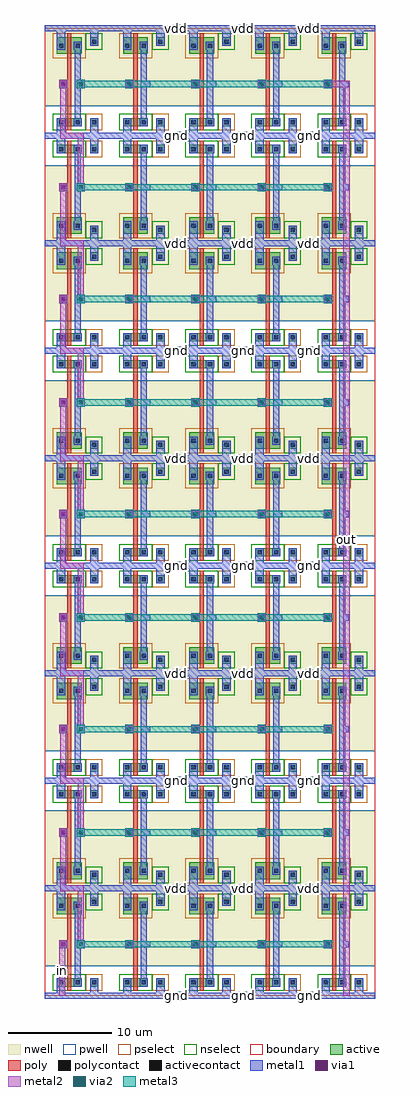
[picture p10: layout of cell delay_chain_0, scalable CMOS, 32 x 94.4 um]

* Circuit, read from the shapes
.subckt delay_chain_0 gnd in out vdd
M1 pinv_2_1/A in gnd gnd nfet w=0.8u l=0.4u
M2 pinv_2_10/A pinv_2_1/A gnd gnd nfet w=0.8u l=0.4u
M3 pinv_2_11/A pinv_2_10/A gnd gnd nfet w=0.8u l=0.4u
M4 pinv_2_16/A pinv_2_11/A gnd gnd nfet w=0.8u l=0.4u
M5 pinv_2_21/A pinv_2_16/A gnd gnd nfet w=0.8u l=0.4u
M6 pinv_2_26/A pinv_2_21/A gnd gnd nfet w=0.8u l=0.4u
M7 pinv_2_31/A pinv_2_26/A gnd gnd nfet w=0.8u l=0.4u
M8 pinv_2_36/A pinv_2_31/A gnd gnd nfet w=0.8u l=0.4u
M9 out pinv_2_36/A gnd gnd nfet w=0.8u l=0.4u
M10 pinv_2_1/Z pinv_2_1/A gnd gnd nfet w=0.8u l=0.4u
M11 pinv_2_6/Z pinv_2_10/A gnd gnd nfet w=0.8u l=0.4u
M12 pinv_2_11/Z pinv_2_11/A gnd gnd nfet w=0.8u l=0.4u
M13 pinv_2_16/Z pinv_2_16/A gnd gnd nfet w=0.8u l=0.4u
M14 pinv_2_21/Z pinv_2_21/A gnd gnd nfet w=0.8u l=0.4u
M15 pinv_2_26/Z pinv_2_26/A gnd gnd nfet w=0.8u l=0.4u
M16 pinv_2_31/Z pinv_2_31/A gnd gnd nfet w=0.8u l=0.4u
M17 pinv_2_36/Z pinv_2_36/A gnd gnd nfet w=0.8u l=0.4u
M18 pinv_2_41/Z out gnd gnd nfet w=0.8u l=0.4u
M19 pinv_2_2/Z pinv_2_1/A gnd gnd nfet w=0.8u l=0.4u
M20 pinv_2_7/Z pinv_2_10/A gnd gnd nfet w=0.8u l=0.4u
M21 pinv_2_12/Z pinv_2_11/A gnd gnd nfet w=0.8u l=0.4u
M22 pinv_2_17/Z pinv_2_16/A gnd gnd nfet w=0.8u l=0.4u
M23 pinv_2_22/Z pinv_2_21/A gnd gnd nfet w=0.8u l=0.4u
M24 pinv_2_27/Z pinv_2_26/A gnd gnd nfet w=0.8u l=0.4u
M25 pinv_2_32/Z pinv_2_31/A gnd gnd nfet w=0.8u l=0.4u
M26 pinv_2_37/Z pinv_2_36/A gnd gnd nfet w=0.8u l=0.4u
M27 pinv_2_42/Z out gnd gnd nfet w=0.8u l=0.4u
M28 pinv_2_3/Z pinv_2_1/A gnd gnd nfet w=0.8u l=0.4u
M29 pinv_2_8/Z pinv_2_10/A gnd gnd nfet w=0.8u l=0.4u
M30 pinv_2_13/Z pinv_2_11/A gnd gnd nfet w=0.8u l=0.4u
M31 pinv_2_18/Z pinv_2_16/A gnd gnd nfet w=0.8u l=0.4u
M32 pinv_2_23/Z pinv_2_21/A gnd gnd nfet w=0.8u l=0.4u
M33 pinv_2_28/Z pinv_2_26/A gnd gnd nfet w=0.8u l=0.4u
M34 pinv_2_33/Z pinv_2_31/A gnd gnd nfet w=0.8u l=0.4u
M35 pinv_2_38/Z pinv_2_36/A gnd gnd nfet w=0.8u l=0.4u
M36 pinv_2_43/Z out gnd gnd nfet w=0.8u l=0.4u
M37 pinv_2_4/Z pinv_2_1/A gnd gnd nfet w=0.8u l=0.4u
M38 pinv_2_9/Z pinv_2_10/A gnd gnd nfet w=0.8u l=0.4u
M39 pinv_2_14/Z pinv_2_11/A gnd gnd nfet w=0.8u l=0.4u
M40 pinv_2_19/Z pinv_2_16/A gnd gnd nfet w=0.8u l=0.4u
M41 pinv_2_24/Z pinv_2_21/A gnd gnd nfet w=0.8u l=0.4u
M42 pinv_2_29/Z pinv_2_26/A gnd gnd nfet w=0.8u l=0.4u
M43 pinv_2_34/Z pinv_2_31/A gnd gnd nfet w=0.8u l=0.4u
M44 pinv_2_39/Z pinv_2_36/A gnd gnd nfet w=0.8u l=0.4u
M45 pinv_2_44/Z out gnd gnd nfet w=0.8u l=0.4u
M46 pinv_2_1/A in vdd vdd pfet w=1.6u l=0.4u
M47 pinv_2_10/A pinv_2_1/A vdd vdd pfet w=1.6u l=0.4u
M48 pinv_2_11/A pinv_2_10/A vdd vdd pfet w=1.6u l=0.4u
M49 pinv_2_16/A pinv_2_11/A vdd vdd pfet w=1.6u l=0.4u
M50 pinv_2_21/A pinv_2_16/A vdd vdd pfet w=1.6u l=0.4u
M51 pinv_2_26/A pinv_2_21/A vdd vdd pfet w=1.6u l=0.4u
M52 pinv_2_31/A pinv_2_26/A vdd vdd pfet w=1.6u l=0.4u
M53 pinv_2_36/A pinv_2_31/A vdd vdd pfet w=1.6u l=0.4u
M54 out pinv_2_36/A vdd vdd pfet w=1.6u l=0.4u
M55 pinv_2_1/Z pinv_2_1/A vdd vdd pfet w=1.6u l=0.4u
M56 pinv_2_6/Z pinv_2_10/A vdd vdd pfet w=1.6u l=0.4u
M57 pinv_2_11/Z pinv_2_11/A vdd vdd pfet w=1.6u l=0.4u
M58 pinv_2_16/Z pinv_2_16/A vdd vdd pfet w=1.6u l=0.4u
M59 pinv_2_21/Z pinv_2_21/A vdd vdd pfet w=1.6u l=0.4u
M60 pinv_2_26/Z pinv_2_26/A vdd vdd pfet w=1.6u l=0.4u
M61 pinv_2_31/Z pinv_2_31/A vdd vdd pfet w=1.6u l=0.4u
M62 pinv_2_36/Z pinv_2_36/A vdd vdd pfet w=1.6u l=0.4u
M63 pinv_2_41/Z out vdd vdd pfet w=1.6u l=0.4u
M64 pinv_2_2/Z pinv_2_1/A vdd vdd pfet w=1.6u l=0.4u
M65 pinv_2_7/Z pinv_2_10/A vdd vdd pfet w=1.6u l=0.4u
M66 pinv_2_12/Z pinv_2_11/A vdd vdd pfet w=1.6u l=0.4u
M67 pinv_2_17/Z pinv_2_16/A vdd vdd pfet w=1.6u l=0.4u
M68 pinv_2_22/Z pinv_2_21/A vdd vdd pfet w=1.6u l=0.4u
M69 pinv_2_27/Z pinv_2_26/A vdd vdd pfet w=1.6u l=0.4u
M70 pinv_2_32/Z pinv_2_31/A vdd vdd pfet w=1.6u l=0.4u
M71 pinv_2_37/Z pinv_2_36/A vdd vdd pfet w=1.6u l=0.4u
M72 pinv_2_42/Z out vdd vdd pfet w=1.6u l=0.4u
M73 pinv_2_3/Z pinv_2_1/A vdd vdd pfet w=1.6u l=0.4u
M74 pinv_2_8/Z pinv_2_10/A vdd vdd pfet w=1.6u l=0.4u
M75 pinv_2_13/Z pinv_2_11/A vdd vdd pfet w=1.6u l=0.4u
M76 pinv_2_18/Z pinv_2_16/A vdd vdd pfet w=1.6u l=0.4u
M77 pinv_2_23/Z pinv_2_21/A vdd vdd pfet w=1.6u l=0.4u
M78 pinv_2_28/Z pinv_2_26/A vdd vdd pfet w=1.6u l=0.4u
M79 pinv_2_33/Z pinv_2_31/A vdd vdd pfet w=1.6u l=0.4u
M80 pinv_2_38/Z pinv_2_36/A vdd vdd pfet w=1.6u l=0.4u
M81 pinv_2_43/Z out vdd vdd pfet w=1.6u l=0.4u
M82 pinv_2_4/Z pinv_2_1/A vdd vdd pfet w=1.6u l=0.4u
M83 pinv_2_9/Z pinv_2_10/A vdd vdd pfet w=1.6u l=0.4u
M84 pinv_2_14/Z pinv_2_11/A vdd vdd pfet w=1.6u l=0.4u
M85 pinv_2_19/Z pinv_2_16/A vdd vdd pfet w=1.6u l=0.4u
M86 pinv_2_24/Z pinv_2_21/A vdd vdd pfet w=1.6u l=0.4u
M87 pinv_2_29/Z pinv_2_26/A vdd vdd pfet w=1.6u l=0.4u
M88 pinv_2_34/Z pinv_2_31/A vdd vdd pfet w=1.6u l=0.4u
M89 pinv_2_39/Z pinv_2_36/A vdd vdd pfet w=1.6u l=0.4u
M90 pinv_2_44/Z out vdd vdd pfet w=1.6u l=0.4u
.ends

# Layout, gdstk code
import gdstk
lib = gdstk.Library(unit=1e-6, precision=1e-09)
def R(c, l, rs):  # rectangles x0, y0, x1, y1
    for r in rs: c.add(gdstk.rectangle(r[:2], r[2:], *l))
def A(c, l, x, y, w, h, nx, ny, dx, dy):  # array of equal rectangles
    R(c, l, [(x+i*dx, y+j*dy, x+i*dx+w, y+j*dy+h) for i in range(nx) for j in range(ny)])
pwell = (41, 0)
nwell = (42, 0)
active = (43, 0)
pselect = (44, 0)
nselect = (45, 0)
poly = (46, 0)
polycontact = (47, 0)
activecontact = (48, 0)
metal1 = (49, 0)
via1 = (50, 0)
metal2 = (51, 0)
via2 = (61, 0)
metal3 = (62, 0)
boundary = (63, 0)

contact_9 = lib.new_cell('contact_9')
R(contact_9, nwell, [(-1.2,-1.2,2,2)])
R(contact_9, active, [(0,0,0.8,0.8)])
R(contact_9, pselect, [(-0.4,-0.4,1.2,1.2)])
R(contact_9, activecontact, [(0.2,0.2,0.6,0.6)])
R(contact_9, metal1, [(0,0,0.8,0.8)])

pmos_m1_w1_600_a_p = lib.new_cell('pmos_m1_w1_600_a_p')
R(pmos_m1_w1_600_a_p, nwell, [(-1.2,-1.2,3.6,2.8)])
R(pmos_m1_w1_600_a_p, active, [(0,0,2.4,1.6)])
R(pmos_m1_w1_600_a_p, pselect, [(-0.4,-0.4,2.8,2)])
R(pmos_m1_w1_600_a_p, poly, [(1,-0.4,1.4,2), (1,-0.4,1.4,2)])
R(pmos_m1_w1_600_a_p, metal1, [(0,0.4,0.8,1.2), (1.6,0.4,2.4,1.2)])
pmos_m1_w1_600_a_p.add(gdstk.Reference(contact_9, (0,0.4)))
pmos_m1_w1_600_a_p.add(gdstk.Reference(contact_9, (1.6,0.4)))
pmos_m1_w1_600_a_p.add(gdstk.Label('G', (1.2,0.8), layer=46, texttype=0))
pmos_m1_w1_600_a_p.add(gdstk.Label('S', (0.4,0.8), layer=49, texttype=0))
pmos_m1_w1_600_a_p.add(gdstk.Label('D', (2,0.8), layer=49, texttype=0))

contact_14 = lib.new_cell('contact_14')
R(contact_14, pwell, [(-1.2,-1.2,2,2)])
R(contact_14, active, [(0,0,0.8,0.8)])
R(contact_14, nselect, [(-0.4,-0.4,1.2,1.2)])
R(contact_14, activecontact, [(0.2,0.2,0.6,0.6)])
R(contact_14, metal1, [(0,0,0.8,0.8)])

nmos_m1_w0_800_a_p = lib.new_cell('nmos_m1_w0_800_a_p')
R(nmos_m1_w0_800_a_p, pwell, [(-1.2,-1.2,3.6,2)])
R(nmos_m1_w0_800_a_p, active, [(0,0,2.4,0.8)])
R(nmos_m1_w0_800_a_p, nselect, [(-0.4,-0.4,2.8,1.2)])
R(nmos_m1_w0_800_a_p, poly, [(1,-0.4,1.4,1.2), (1,-0.4,1.4,1.2)])
R(nmos_m1_w0_800_a_p, metal1, [(0,0,0.8,0.8), (1.6,0,2.4,0.8)])
nmos_m1_w0_800_a_p.add(gdstk.Reference(contact_14, (0,0)))
nmos_m1_w0_800_a_p.add(gdstk.Reference(contact_14, (1.6,0)))
nmos_m1_w0_800_a_p.add(gdstk.Label('G', (1.2,0.4), layer=46, texttype=0))
nmos_m1_w0_800_a_p.add(gdstk.Label('S', (0.4,0.4), layer=49, texttype=0))
nmos_m1_w0_800_a_p.add(gdstk.Label('D', (2,0.4), layer=49, texttype=0))

contact_15 = lib.new_cell('contact_15')
R(contact_15, nwell, [(-1.2,-1.2,2,2)])
R(contact_15, active, [(0,0,0.8,0.8)])
R(contact_15, nselect, [(-0.4,-0.4,1.2,1.2)])
R(contact_15, activecontact, [(0.2,0.2,0.6,0.6)])
R(contact_15, metal1, [(0,0,0.8,0.8)])

contact_16 = lib.new_cell('contact_16')
R(contact_16, pwell, [(-1.2,-1.2,2,2)])
R(contact_16, active, [(0,0,0.8,0.8)])
R(contact_16, pselect, [(-0.4,-0.4,1.2,1.2)])
R(contact_16, activecontact, [(0.2,0.2,0.6,0.6)])
R(contact_16, metal1, [(0,0,0.8,0.8)])

contact_10 = lib.new_cell('contact_10')
R(contact_10, poly, [(0,0,0.8,0.8)])
R(contact_10, polycontact, [(0.2,0.2,0.6,0.6)])
R(contact_10, metal1, [(0,0,0.8,0.8)])

pinv_2 = lib.new_cell('pinv_2')
R(pinv_2, pwell, [(0,-0.3,6.4,2.9)])
R(pinv_2, nwell, [(0,2.9,6.4,10.7)])
R(pinv_2, poly, [(2.2,0.5,2.6,7.5), (1.8,4.6,2.2,5.4)])
R(pinv_2, metal1, [(0,-0.3,6.4,0.3), (1.2,-0.3,2,0.9), (4.4,0,5.2,1.3), (2.9,0.9,3.5,9.1), (1.4,4.6,2.2,5.4), (3.2,4.7,3.8,5.3), (1.2,8.3,2,10.7), (4.4,9.1,5.2,10.4), (0,10.1,6.4,10.7)])
R(pinv_2, boundary, [(0,0,6.4,10.4)])
pinv_2.add(gdstk.Reference(pmos_m1_w1_600_a_p, (1.2,7.9)))
pinv_2.add(gdstk.Reference(nmos_m1_w0_800_a_p, (1.2,0.9)))
pinv_2.add(gdstk.Reference(contact_15, (4.4,8.7)))
pinv_2.add(gdstk.Reference(contact_16, (4.4,0.9)))
pinv_2.add(gdstk.Reference(contact_10, (1.4,4.6)))
pinv_2.add(gdstk.Label('gnd', (3.2,0), layer=49, texttype=0))
pinv_2.add(gdstk.Label('vdd', (3.2,10.4), layer=49, texttype=0))
pinv_2.add(gdstk.Label('A', (1.8,5), layer=49, texttype=0))
pinv_2.add(gdstk.Label('Z', (3.5,5), layer=49, texttype=0))

contact_18 = lib.new_cell('contact_18')
R(contact_18, metal1, [(0,0,0.8,0.8)])
R(contact_18, via1, [(0.2,0.2,0.6,0.6)])
R(contact_18, metal2, [(0,0,0.8,0.8)])

contact_7 = lib.new_cell('contact_7')
R(contact_7, metal2, [(0,0,0.8,0.8)])
R(contact_7, via2, [(0.2,0.2,0.6,0.6)])
R(contact_7, metal3, [(0,0,0.8,0.8)])

contact_5 = lib.new_cell('contact_5')
R(contact_5, metal1, [(0,0,0.8,0.8)])
R(contact_5, via1, [(0.2,0.2,0.6,0.6)])
R(contact_5, metal2, [(0,0,0.8,0.8)])

contact_6 = lib.new_cell('contact_6')
R(contact_6, metal2, [(0,0,0.8,0.8)])
R(contact_6, via2, [(0.2,0.2,0.6,0.6)])
R(contact_6, metal3, [(0,0,0.8,0.8)])

delay_chain_0 = lib.new_cell('delay_chain_0')
A(delay_chain_0, metal2, 3.2, 5, 0.6, 5.4, 1, 4, 0, 20.8)
A(delay_chain_0, metal2, 1.5, 10.1, 0.6, 0.6, 1, 8, 0, 10.4)
A(delay_chain_0, metal2, 1.8, 10.1, 1.7, 0.6, 1, 8, 0, 10.4)
A(delay_chain_0, metal2, 3.2, 10.1, 0.6, 0.6, 1, 8, 0, 10.4)
A(delay_chain_0, metal2, 1.5, 10.4, 0.6, 5.4, 1, 4, 0, 20.8)
A(delay_chain_0, metal2, 3.2, 15.8, 0.6, 5, 1, 4, 0, 20.8)
A(delay_chain_0, metal2, 1.5, 20.8, 0.6, 5, 1, 4, 0, 20.8)
R(delay_chain_0, metal2, [(1.4,0,2,5), (28.9,0,29.5,88.2), (28.9,0,29.5,88.2), (27.4,87.9,29.2,88.5), (28.9,87.9,29.5,88.5)])
A(delay_chain_0, metal3, 12.4, -0.4, 0.8, 0.8, 3, 10, 6.4, 10.4)
R(delay_chain_0, metal3, [(3.5,4.7,27.4,5.3), (3.5,15.5,27.4,16.1), (3.5,25.5,27.4,26.1), (3.5,36.3,27.4,36.9), (3.5,46.3,27.4,46.9), (3.5,57.1,27.4,57.7), (3.5,67.1,27.4,67.7), (3.5,77.9,27.4,78.5), (3.5,87.9,27.4,88.5)])
R(delay_chain_0, boundary, [(0,0,32,93.6)])
delay_chain_0.add(gdstk.Reference(pinv_2, (0,0)))
delay_chain_0.add(gdstk.Reference(pinv_2, (6.4,0)))
delay_chain_0.add(gdstk.Reference(pinv_2, (12.8,0)))
delay_chain_0.add(gdstk.Reference(pinv_2, (19.2,0)))
delay_chain_0.add(gdstk.Reference(pinv_2, (25.6,0)))
delay_chain_0.add(gdstk.Reference(pinv_2, (0,20.8), x_reflection=True))
delay_chain_0.add(gdstk.Reference(pinv_2, (6.4,20.8), x_reflection=True))
delay_chain_0.add(gdstk.Reference(pinv_2, (12.8,20.8), x_reflection=True))
delay_chain_0.add(gdstk.Reference(pinv_2, (19.2,20.8), x_reflection=True))
delay_chain_0.add(gdstk.Reference(pinv_2, (25.6,20.8), x_reflection=True))
delay_chain_0.add(gdstk.Reference(pinv_2, (0,20.8)))
delay_chain_0.add(gdstk.Reference(pinv_2, (6.4,20.8)))
delay_chain_0.add(gdstk.Reference(pinv_2, (12.8,20.8)))
delay_chain_0.add(gdstk.Reference(pinv_2, (19.2,20.8)))
delay_chain_0.add(gdstk.Reference(pinv_2, (25.6,20.8)))
delay_chain_0.add(gdstk.Reference(pinv_2, (0,41.6), x_reflection=True))
delay_chain_0.add(gdstk.Reference(pinv_2, (6.4,41.6), x_reflection=True))
delay_chain_0.add(gdstk.Reference(pinv_2, (12.8,41.6), x_reflection=True))
delay_chain_0.add(gdstk.Reference(pinv_2, (19.2,41.6), x_reflection=True))
delay_chain_0.add(gdstk.Reference(pinv_2, (25.6,41.6), x_reflection=True))
delay_chain_0.add(gdstk.Reference(pinv_2, (0,41.6)))
delay_chain_0.add(gdstk.Reference(pinv_2, (6.4,41.6)))
delay_chain_0.add(gdstk.Reference(pinv_2, (12.8,41.6)))
delay_chain_0.add(gdstk.Reference(pinv_2, (19.2,41.6)))
delay_chain_0.add(gdstk.Reference(pinv_2, (25.6,41.6)))
delay_chain_0.add(gdstk.Reference(pinv_2, (0,62.4), x_reflection=True))
delay_chain_0.add(gdstk.Reference(pinv_2, (6.4,62.4), x_reflection=True))
delay_chain_0.add(gdstk.Reference(pinv_2, (12.8,62.4), x_reflection=True))
delay_chain_0.add(gdstk.Reference(pinv_2, (19.2,62.4), x_reflection=True))
delay_chain_0.add(gdstk.Reference(pinv_2, (25.6,62.4), x_reflection=True))
delay_chain_0.add(gdstk.Reference(pinv_2, (0,62.4)))
delay_chain_0.add(gdstk.Reference(pinv_2, (6.4,62.4)))
delay_chain_0.add(gdstk.Reference(pinv_2, (12.8,62.4)))
delay_chain_0.add(gdstk.Reference(pinv_2, (19.2,62.4)))
delay_chain_0.add(gdstk.Reference(pinv_2, (25.6,62.4)))
delay_chain_0.add(gdstk.Reference(pinv_2, (0,83.2), x_reflection=True))
delay_chain_0.add(gdstk.Reference(pinv_2, (6.4,83.2), x_reflection=True))
delay_chain_0.add(gdstk.Reference(pinv_2, (12.8,83.2), x_reflection=True))
delay_chain_0.add(gdstk.Reference(pinv_2, (19.2,83.2), x_reflection=True))
delay_chain_0.add(gdstk.Reference(pinv_2, (25.6,83.2), x_reflection=True))
delay_chain_0.add(gdstk.Reference(pinv_2, (0,83.2)))
delay_chain_0.add(gdstk.Reference(pinv_2, (6.4,83.2)))
delay_chain_0.add(gdstk.Reference(pinv_2, (12.8,83.2)))
delay_chain_0.add(gdstk.Reference(pinv_2, (19.2,83.2)))
delay_chain_0.add(gdstk.Reference(pinv_2, (25.6,83.2)))
delay_chain_0.add(gdstk.Reference(contact_18, (7.8,4.6)))
delay_chain_0.add(gdstk.Reference(contact_7, (7.8,4.6)))
delay_chain_0.add(gdstk.Reference(contact_18, (14.2,4.6)))
delay_chain_0.add(gdstk.Reference(contact_7, (14.2,4.6)))
delay_chain_0.add(gdstk.Reference(contact_18, (20.6,4.6)))
delay_chain_0.add(gdstk.Reference(contact_7, (20.6,4.6)))
delay_chain_0.add(gdstk.Reference(contact_18, (27,4.6)))
delay_chain_0.add(gdstk.Reference(contact_7, (27,4.6)))
delay_chain_0.add(gdstk.Reference(contact_18, (1.4,4.6)))
delay_chain_0.add(gdstk.Reference(contact_18, (3.1,4.6)))
delay_chain_0.add(gdstk.Reference(contact_7, (3.1,4.6)))
delay_chain_0.add(gdstk.Reference(contact_18, (7.8,15.4)))
delay_chain_0.add(gdstk.Reference(contact_7, (7.8,15.4)))
delay_chain_0.add(gdstk.Reference(contact_18, (14.2,15.4)))
delay_chain_0.add(gdstk.Reference(contact_7, (14.2,15.4)))
delay_chain_0.add(gdstk.Reference(contact_18, (20.6,15.4)))
delay_chain_0.add(gdstk.Reference(contact_7, (20.6,15.4)))
delay_chain_0.add(gdstk.Reference(contact_18, (27,15.4)))
delay_chain_0.add(gdstk.Reference(contact_7, (27,15.4)))
delay_chain_0.add(gdstk.Reference(contact_18, (1.4,15.4)))
delay_chain_0.add(gdstk.Reference(contact_18, (3.1,15.4)))
delay_chain_0.add(gdstk.Reference(contact_7, (3.1,15.4)))
delay_chain_0.add(gdstk.Reference(contact_18, (7.8,25.4)))
delay_chain_0.add(gdstk.Reference(contact_7, (7.8,25.4)))
delay_chain_0.add(gdstk.Reference(contact_18, (14.2,25.4)))
delay_chain_0.add(gdstk.Reference(contact_7, (14.2,25.4)))
delay_chain_0.add(gdstk.Reference(contact_18, (20.6,25.4)))
delay_chain_0.add(gdstk.Reference(contact_7, (20.6,25.4)))
delay_chain_0.add(gdstk.Reference(contact_18, (27,25.4)))
delay_chain_0.add(gdstk.Reference(contact_7, (27,25.4)))
delay_chain_0.add(gdstk.Reference(contact_18, (1.4,25.4)))
delay_chain_0.add(gdstk.Reference(contact_18, (3.1,25.4)))
delay_chain_0.add(gdstk.Reference(contact_7, (3.1,25.4)))
delay_chain_0.add(gdstk.Reference(contact_18, (7.8,36.2)))
delay_chain_0.add(gdstk.Reference(contact_7, (7.8,36.2)))
delay_chain_0.add(gdstk.Reference(contact_18, (14.2,36.2)))
delay_chain_0.add(gdstk.Reference(contact_7, (14.2,36.2)))
delay_chain_0.add(gdstk.Reference(contact_18, (20.6,36.2)))
delay_chain_0.add(gdstk.Reference(contact_7, (20.6,36.2)))
delay_chain_0.add(gdstk.Reference(contact_18, (27,36.2)))
delay_chain_0.add(gdstk.Reference(contact_7, (27,36.2)))
delay_chain_0.add(gdstk.Reference(contact_18, (1.4,36.2)))
delay_chain_0.add(gdstk.Reference(contact_18, (3.1,36.2)))
delay_chain_0.add(gdstk.Reference(contact_7, (3.1,36.2)))
delay_chain_0.add(gdstk.Reference(contact_18, (7.8,46.2)))
delay_chain_0.add(gdstk.Reference(contact_7, (7.8,46.2)))
delay_chain_0.add(gdstk.Reference(contact_18, (14.2,46.2)))
delay_chain_0.add(gdstk.Reference(contact_7, (14.2,46.2)))
delay_chain_0.add(gdstk.Reference(contact_18, (20.6,46.2)))
delay_chain_0.add(gdstk.Reference(contact_7, (20.6,46.2)))
delay_chain_0.add(gdstk.Reference(contact_18, (27,46.2)))
delay_chain_0.add(gdstk.Reference(contact_7, (27,46.2)))
delay_chain_0.add(gdstk.Reference(contact_18, (1.4,46.2)))
delay_chain_0.add(gdstk.Reference(contact_18, (3.1,46.2)))
delay_chain_0.add(gdstk.Reference(contact_7, (3.1,46.2)))
delay_chain_0.add(gdstk.Reference(contact_18, (7.8,57)))
delay_chain_0.add(gdstk.Reference(contact_7, (7.8,57)))
delay_chain_0.add(gdstk.Reference(contact_18, (14.2,57)))
delay_chain_0.add(gdstk.Reference(contact_7, (14.2,57)))
delay_chain_0.add(gdstk.Reference(contact_18, (20.6,57)))
delay_chain_0.add(gdstk.Reference(contact_7, (20.6,57)))
delay_chain_0.add(gdstk.Reference(contact_18, (27,57)))
delay_chain_0.add(gdstk.Reference(contact_7, (27,57)))
delay_chain_0.add(gdstk.Reference(contact_18, (1.4,57)))
delay_chain_0.add(gdstk.Reference(contact_18, (3.1,57)))
delay_chain_0.add(gdstk.Reference(contact_7, (3.1,57)))
delay_chain_0.add(gdstk.Reference(contact_18, (7.8,67)))
delay_chain_0.add(gdstk.Reference(contact_7, (7.8,67)))
delay_chain_0.add(gdstk.Reference(contact_18, (14.2,67)))
delay_chain_0.add(gdstk.Reference(contact_7, (14.2,67)))
delay_chain_0.add(gdstk.Reference(contact_18, (20.6,67)))
delay_chain_0.add(gdstk.Reference(contact_7, (20.6,67)))
delay_chain_0.add(gdstk.Reference(contact_18, (27,67)))
delay_chain_0.add(gdstk.Reference(contact_7, (27,67)))
delay_chain_0.add(gdstk.Reference(contact_18, (1.4,67)))
delay_chain_0.add(gdstk.Reference(contact_18, (3.1,67)))
delay_chain_0.add(gdstk.Reference(contact_7, (3.1,67)))
delay_chain_0.add(gdstk.Reference(contact_18, (7.8,77.8)))
delay_chain_0.add(gdstk.Reference(contact_7, (7.8,77.8)))
delay_chain_0.add(gdstk.Reference(contact_18, (14.2,77.8)))
delay_chain_0.add(gdstk.Reference(contact_7, (14.2,77.8)))
delay_chain_0.add(gdstk.Reference(contact_18, (20.6,77.8)))
delay_chain_0.add(gdstk.Reference(contact_7, (20.6,77.8)))
delay_chain_0.add(gdstk.Reference(contact_18, (27,77.8)))
delay_chain_0.add(gdstk.Reference(contact_7, (27,77.8)))
delay_chain_0.add(gdstk.Reference(contact_18, (1.4,77.8)))
delay_chain_0.add(gdstk.Reference(contact_18, (3.1,77.8)))
delay_chain_0.add(gdstk.Reference(contact_7, (3.1,77.8)))
delay_chain_0.add(gdstk.Reference(contact_18, (7.8,87.8)))
delay_chain_0.add(gdstk.Reference(contact_7, (7.8,87.8)))
delay_chain_0.add(gdstk.Reference(contact_18, (14.2,87.8)))
delay_chain_0.add(gdstk.Reference(contact_7, (14.2,87.8)))
delay_chain_0.add(gdstk.Reference(contact_18, (20.6,87.8)))
delay_chain_0.add(gdstk.Reference(contact_7, (20.6,87.8)))
delay_chain_0.add(gdstk.Reference(contact_18, (27,87.8)))
delay_chain_0.add(gdstk.Reference(contact_7, (27,87.8)))
delay_chain_0.add(gdstk.Reference(contact_18, (1.4,87.8)))
delay_chain_0.add(gdstk.Reference(contact_18, (3.1,87.8)))
delay_chain_0.add(gdstk.Reference(contact_7, (3.1,87.8)))
delay_chain_0.add(gdstk.Reference(contact_5, (12.4,10)))
delay_chain_0.add(gdstk.Reference(contact_6, (12.4,10)))
delay_chain_0.add(gdstk.Reference(contact_5, (12.4,-0.4)))
delay_chain_0.add(gdstk.Reference(contact_6, (12.4,-0.4)))
delay_chain_0.add(gdstk.Reference(contact_5, (18.8,10)))
delay_chain_0.add(gdstk.Reference(contact_6, (18.8,10)))
delay_chain_0.add(gdstk.Reference(contact_5, (18.8,-0.4)))
delay_chain_0.add(gdstk.Reference(contact_6, (18.8,-0.4)))
delay_chain_0.add(gdstk.Reference(contact_5, (25.2,10)))
delay_chain_0.add(gdstk.Reference(contact_6, (25.2,10)))
delay_chain_0.add(gdstk.Reference(contact_5, (25.2,-0.4)))
delay_chain_0.add(gdstk.Reference(contact_6, (25.2,-0.4)))
delay_chain_0.add(gdstk.Reference(contact_5, (12.4,30.8)))
delay_chain_0.add(gdstk.Reference(contact_6, (12.4,30.8)))
delay_chain_0.add(gdstk.Reference(contact_5, (12.4,20.4)))
delay_chain_0.add(gdstk.Reference(contact_6, (12.4,20.4)))
delay_chain_0.add(gdstk.Reference(contact_5, (18.8,30.8)))
delay_chain_0.add(gdstk.Reference(contact_6, (18.8,30.8)))
delay_chain_0.add(gdstk.Reference(contact_5, (18.8,20.4)))
delay_chain_0.add(gdstk.Reference(contact_6, (18.8,20.4)))
delay_chain_0.add(gdstk.Reference(contact_5, (25.2,30.8)))
delay_chain_0.add(gdstk.Reference(contact_6, (25.2,30.8)))
delay_chain_0.add(gdstk.Reference(contact_5, (25.2,20.4)))
delay_chain_0.add(gdstk.Reference(contact_6, (25.2,20.4)))
delay_chain_0.add(gdstk.Reference(contact_5, (12.4,51.6)))
delay_chain_0.add(gdstk.Reference(contact_6, (12.4,51.6)))
delay_chain_0.add(gdstk.Reference(contact_5, (12.4,41.2)))
delay_chain_0.add(gdstk.Reference(contact_6, (12.4,41.2)))
delay_chain_0.add(gdstk.Reference(contact_5, (18.8,51.6)))
delay_chain_0.add(gdstk.Reference(contact_6, (18.8,51.6)))
delay_chain_0.add(gdstk.Reference(contact_5, (18.8,41.2)))
delay_chain_0.add(gdstk.Reference(contact_6, (18.8,41.2)))
delay_chain_0.add(gdstk.Reference(contact_5, (25.2,51.6)))
delay_chain_0.add(gdstk.Reference(contact_6, (25.2,51.6)))
delay_chain_0.add(gdstk.Reference(contact_5, (25.2,41.2)))
delay_chain_0.add(gdstk.Reference(contact_6, (25.2,41.2)))
delay_chain_0.add(gdstk.Reference(contact_5, (12.4,72.4)))
delay_chain_0.add(gdstk.Reference(contact_6, (12.4,72.4)))
delay_chain_0.add(gdstk.Reference(contact_5, (12.4,62)))
delay_chain_0.add(gdstk.Reference(contact_6, (12.4,62)))
delay_chain_0.add(gdstk.Reference(contact_5, (18.8,72.4)))
delay_chain_0.add(gdstk.Reference(contact_6, (18.8,72.4)))
delay_chain_0.add(gdstk.Reference(contact_5, (18.8,62)))
delay_chain_0.add(gdstk.Reference(contact_6, (18.8,62)))
delay_chain_0.add(gdstk.Reference(contact_5, (25.2,72.4)))
delay_chain_0.add(gdstk.Reference(contact_6, (25.2,72.4)))
delay_chain_0.add(gdstk.Reference(contact_5, (25.2,62)))
delay_chain_0.add(gdstk.Reference(contact_6, (25.2,62)))
delay_chain_0.add(gdstk.Reference(contact_5, (12.4,93.2)))
delay_chain_0.add(gdstk.Reference(contact_6, (12.4,93.2)))
delay_chain_0.add(gdstk.Reference(contact_5, (12.4,82.8)))
delay_chain_0.add(gdstk.Reference(contact_6, (12.4,82.8)))
delay_chain_0.add(gdstk.Reference(contact_5, (18.8,93.2)))
delay_chain_0.add(gdstk.Reference(contact_6, (18.8,93.2)))
delay_chain_0.add(gdstk.Reference(contact_5, (18.8,82.8)))
delay_chain_0.add(gdstk.Reference(contact_6, (18.8,82.8)))
delay_chain_0.add(gdstk.Reference(contact_5, (25.2,93.2)))
delay_chain_0.add(gdstk.Reference(contact_6, (25.2,93.2)))
delay_chain_0.add(gdstk.Reference(contact_5, (25.2,82.8)))
delay_chain_0.add(gdstk.Reference(contact_6, (25.2,82.8)))
delay_chain_0.add(gdstk.Reference(contact_5, (12.4,82.8)))
delay_chain_0.add(gdstk.Reference(contact_6, (12.4,82.8)))
delay_chain_0.add(gdstk.Reference(contact_5, (18.8,82.8)))
delay_chain_0.add(gdstk.Reference(contact_6, (18.8,82.8)))
delay_chain_0.add(gdstk.Reference(contact_5, (25.2,82.8)))
delay_chain_0.add(gdstk.Reference(contact_6, (25.2,82.8)))
delay_chain_0.add(gdstk.Reference(contact_18, (1.4,4.6)))
delay_chain_0.add(gdstk.Reference(contact_18, (27,87.8)))
delay_chain_0.add(gdstk.Label('vdd', (12.8,72.8), layer=62, texttype=0))
delay_chain_0.add(gdstk.Label('vdd', (25.6,93.6), layer=62, texttype=0))
delay_chain_0.add(gdstk.Label('vdd', (12.8,93.6), layer=62, texttype=0))
delay_chain_0.add(gdstk.Label('vdd', (19.2,10.4), layer=62, texttype=0))
delay_chain_0.add(gdstk.Label('vdd', (19.2,93.6), layer=62, texttype=0))
delay_chain_0.add(gdstk.Label('vdd', (25.6,31.2), layer=62, texttype=0))
delay_chain_0.add(gdstk.Label('vdd', (12.8,52), layer=62, texttype=0))
delay_chain_0.add(gdstk.Label('vdd', (25.6,72.8), layer=62, texttype=0))
delay_chain_0.add(gdstk.Label('vdd', (12.8,31.2), layer=62, texttype=0))
delay_chain_0.add(gdstk.Label('vdd', (19.2,31.2), layer=62, texttype=0))
delay_chain_0.add(gdstk.Label('vdd', (12.8,10.4), layer=62, texttype=0))
delay_chain_0.add(gdstk.Label('vdd', (19.2,52), layer=62, texttype=0))
delay_chain_0.add(gdstk.Label('vdd', (25.6,52), layer=62, texttype=0))
delay_chain_0.add(gdstk.Label('vdd', (19.2,72.8), layer=62, texttype=0))
delay_chain_0.add(gdstk.Label('vdd', (25.6,10.4), layer=62, texttype=0))
delay_chain_0.add(gdstk.Label('gnd', (25.6,20.8), layer=62, texttype=0))
delay_chain_0.add(gdstk.Label('gnd', (25.6,0), layer=62, texttype=0))
delay_chain_0.add(gdstk.Label('gnd', (12.8,62.4), layer=62, texttype=0))
delay_chain_0.add(gdstk.Label('gnd', (19.2,62.4), layer=62, texttype=0))
delay_chain_0.add(gdstk.Label('gnd', (25.6,62.4), layer=62, texttype=0))
delay_chain_0.add(gdstk.Label('gnd', (12.8,20.8), layer=62, texttype=0))
delay_chain_0.add(gdstk.Label('gnd', (12.8,83.2), layer=62, texttype=0))
delay_chain_0.add(gdstk.Label('gnd', (12.8,41.6), layer=62, texttype=0))
delay_chain_0.add(gdstk.Label('gnd', (25.6,41.6), layer=62, texttype=0))
delay_chain_0.add(gdstk.Label('gnd', (19.2,41.6), layer=62, texttype=0))
delay_chain_0.add(gdstk.Label('gnd', (25.6,83.2), layer=62, texttype=0))
delay_chain_0.add(gdstk.Label('gnd', (19.2,0), layer=62, texttype=0))
delay_chain_0.add(gdstk.Label('gnd', (12.8,0), layer=62, texttype=0))
delay_chain_0.add(gdstk.Label('gnd', (19.2,20.8), layer=62, texttype=0))
delay_chain_0.add(gdstk.Label('gnd', (19.2,83.2), layer=62, texttype=0))
delay_chain_0.add(gdstk.Label('in', (1.7,2.5), layer=51, texttype=0))
delay_chain_0.add(gdstk.Label('out', (29.2,44.1), layer=51, texttype=0))

lib.write_gds('delay_chain_0.gds')
